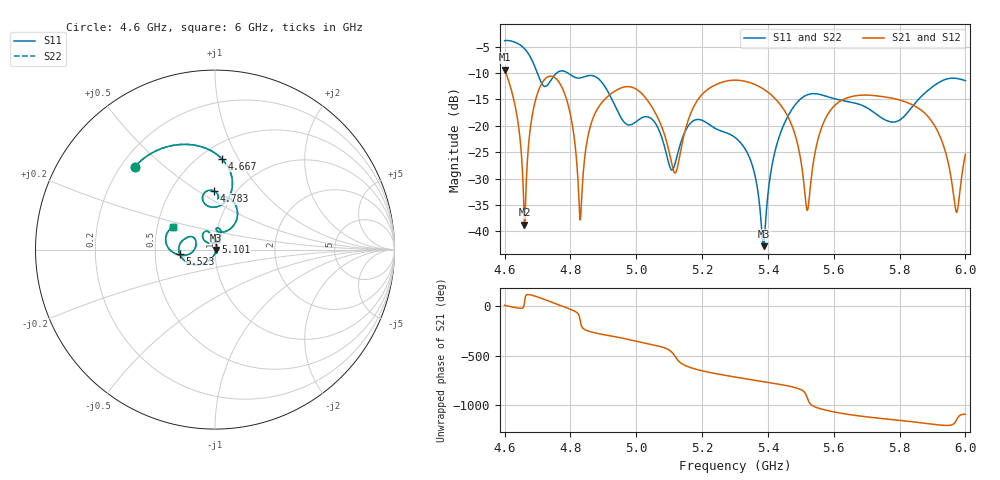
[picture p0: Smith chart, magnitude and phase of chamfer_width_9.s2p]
! TOUCHSTONE file generated by CST MICROWAVE STUDIO
! Date and time: Sat Nov 30 03:28:48 2024
! Project name: test_tuning.cst
! Parameters = {airCoaxOuterDiameter=3; chamferAngle=45; chamferWidth=18; connectorLength=10; drillingHoleDiameter=4.1; feedLength=60; flareDiameter=130; flareLength=70; gratingDistance=0; gratingGap=1.90274; outletLength=30; polarizerLength=134; probe1Diameter=1.3; probe1Distance=14; probe1Length=1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
! Header version: 2024
! Port assignment regex: !\s*Touchstone port\s*([0-9]+)\s*=\s*(CST MWS port|CST DES external port|CST DES block port)\s*(.+)\s* \(\"(.*)\"\)(\s*mode\s*([0-9]+))?.*
! Touchstone port assignment:
! Touchstone port 1 = CST MWS port 1 ("Input1")
! Touchstone port 2 = CST MWS port 2 ("Input2")
# GHz S MA R 50
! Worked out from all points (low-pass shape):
!   1001 points, 4.6 GHz to 6 GHz, reference 50 ohm
!   highest |S21| = -9.32 dB at 4.6 GHz (marker M1); lowest = -38.7 dB at 4.66 GHz (marker M2)
!   |S21| within 3 dB of the highest: 4.71 GHz to 4.771 GHz (61.27 MHz wide, 1.29 % of centre); 5.238 GHz to 5.366 GHz (128.7 MHz wide, 2.43 % of centre)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
!   lowest |S11| = -42.8 dB at 5.387 GHz (marker M3), VSWR 1.01, Z = 50.7 - j0.238 ohm
!   |S11| at or under -10 dB: 4.699 GHz to 4.758 GHz (58.32 MHz wide, 1.23 % of centre); 4.792 GHz to end of sweep
!   |S22| runs from -42.8 to -3.8 dB; largest |S21 - S12| = 6.3e-07
!   S11 on the Smith chart (normalised r, x): 4.6 GHz: 0.26, +0.40; 4.667 GHz: 0.63, +0.86; 4.783 GHz: 0.80, +0.58; 5.101 GHz: 1.00, +0.08; 5.523 GHz: 0.67, -0.04; 6 GHz: 0.60, +0.16
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4.6  0.6421 133.9  0.3418 6.4  0.3418 6.4  0.6421 133.9
4.6378  0.6076 105.3  0.1233 -20.6  0.1233 -20.6  0.6076 105.3
4.6602  0.5398 90.4  0.01157 27.6  0.01157 27.6  0.5398 90.4
4.6672  0.5088 85.9  0.03617 111.2  0.03617 111.2  0.5088 85.9
4.7078  0.2718 77.8  0.2347 80.8  0.2347 80.8  0.2718 77.8
4.7834  0.3272 91.2  0.1976 -13.5  0.1976 -13.5  0.3272 91.2
4.8338  0.2864 86.8  0.01955 156.9  0.01955 156.9  0.2864 86.8
4.8576  0.2999 80.9  0.09142 103.7  0.09142 103.7  0.2999 80.9
4.9066  0.2306 57.0  0.1813 67.4  0.1813 67.4  0.2306 57.0
5.0676  0.09319 68.1  0.1154 -44.1  0.1154 -44.1  0.09319 68.1
5.1012  0.04144 85.8  0.05447 -86.4  0.05447 -86.4  0.04144 85.8
5.1768  0.113 125.0  0.1564 87.8  0.1564 87.8  0.113 125.0
5.3  0.07758 101.7  0.2711 5.1  0.2711 5.1  0.07758 101.7
5.3868  0.007223 -18.9  0.2229 -41.8  0.2229 -41.8  0.007223 -18.9
5.433  0.07656 -121.2  0.1656 -67.0  0.1656 -67.0  0.07656 -121.2
5.5226  0.1982 -172.6  0.01713 129.8  0.01713 129.8  0.1982 -172.6
5.5338  0.2015 -178.5  0.03604 80.8  0.03604 80.8  0.2015 -178.5
5.6024  0.1807 161.2  0.1554 13.3  0.1554 13.3  0.1807 161.2
5.7676  0.1101 162.9  0.1852 -59.1  0.1852 -59.1  0.1101 162.9
5.9048  0.2404 -177.3  0.1023 -111.3  0.1023 -111.3  0.2404 -177.3
5.972  0.2817 160.5  0.01525 -72.3  0.01525 -72.3  0.2817 160.5
6  0.2678 152.1  0.05373 -9.3  0.05373 -9.3  0.2678 152.1
